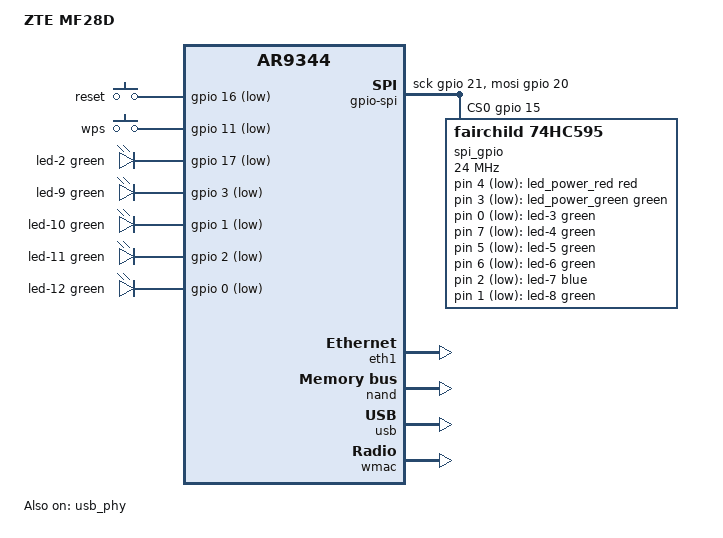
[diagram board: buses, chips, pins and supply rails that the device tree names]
// SPDX-License-Identifier: GPL-2.0-or-later OR MIT

#include "ar9344.dtsi"

#include <dt-bindings/gpio/gpio.h>
#include <dt-bindings/input/input.h>
#include <dt-bindings/leds/common.h>

/ {
	model = "ZTE MF28D";
	compatible = "zte,mf28d", "qca,ar9344";

	aliases {
		label-mac-device = &wmac;
		led-boot = &led_power_green;
		led-failsafe = &led_power_red;
		led-running = &led_power_green;
		led-upgrade = &led_power_red;
	};

	keys {
		compatible = "gpio-keys";
		pinctrl-names = "default";
		pinctrl-0 = <&enable_gpio_11 &enable_gpio_16>;

		reset {
			label = "reset";
			linux,code = <KEY_RESTART>;
			gpios = <&gpio 16 GPIO_ACTIVE_LOW>;
		};

		wps {
			label = "wps";
			linux,code = <KEY_WPS_BUTTON>;
			gpios = <&gpio 11 GPIO_ACTIVE_LOW>;
		};
	};

	leds {
		compatible = "gpio-leds";
		pinctrl-names = "default";
		pinctrl-0 = <&enable_switch_leds>;

		led_power_red: led-0 {
			color = <LED_COLOR_ID_RED>;
			function = LED_FUNCTION_POWER;
			gpios = <&spi_gpio 4 GPIO_ACTIVE_LOW>;
			panic-indicator;
		};

		led_power_green: led-1 {
			color = <LED_COLOR_ID_GREEN>;
			function = LED_FUNCTION_POWER;
			gpios = <&spi_gpio 3 GPIO_ACTIVE_LOW>;
			default-state = "on";
		};

		led-2 {
			color = <LED_COLOR_ID_GREEN>;
			function = LED_FUNCTION_WLAN;
			gpios = <&gpio 17 GPIO_ACTIVE_LOW>;
			linux,default-trigger = "phy0tpt";
		};

		led-3 {
			color = <LED_COLOR_ID_GREEN>;
			function = "phone";
			function-enumerator = <1>;
			gpios = <&spi_gpio 0 GPIO_ACTIVE_LOW>;
		};

		led-4 {
			color = <LED_COLOR_ID_GREEN>;
			function = "phone";
			function-enumerator = <2>;
			gpios = <&spi_gpio 7 GPIO_ACTIVE_LOW>;
		};

		led-5 {
			color = <LED_COLOR_ID_GREEN>;
			function = "mobile-activity";
			gpios = <&spi_gpio 5 GPIO_ACTIVE_LOW>;
		};

		led-6 {
			color = <LED_COLOR_ID_GREEN>;
			function = LED_FUNCTION_MOBILE;
			gpios = <&spi_gpio 6 GPIO_ACTIVE_LOW>;
		};

		led-7 {
			color = <LED_COLOR_ID_BLUE>;
			function = LED_FUNCTION_MOBILE;
			gpios = <&spi_gpio 2 GPIO_ACTIVE_LOW>;
		};

		led-8 {
			color = <LED_COLOR_ID_GREEN>;
			function = "mobile-signal";
			gpios = <&spi_gpio 1 GPIO_ACTIVE_LOW>;
		};

		led-9 {
			color = <LED_COLOR_ID_GREEN>;
			function = LED_FUNCTION_LAN;
			function-enumerator = <1>;
			gpios = <&gpio 3 GPIO_ACTIVE_LOW>;
		};

		led-10 {
			color = <LED_COLOR_ID_GREEN>;
			function = LED_FUNCTION_LAN;
			function-enumerator = <2>;
			gpios = <&gpio 1 GPIO_ACTIVE_LOW>;
		};

		led-11 {
			color = <LED_COLOR_ID_GREEN>;
			function = LED_FUNCTION_LAN;
			function-enumerator = <3>;
			gpios = <&gpio 2 GPIO_ACTIVE_LOW>;
		};

		led-12 {
			color = <LED_COLOR_ID_GREEN>;
			function = LED_FUNCTION_LAN;
			function-enumerator = <4>;
			gpios = <&gpio 0 GPIO_ACTIVE_LOW>;
		};
	};

	gpio-spi {
		compatible = "spi-gpio";
		#address-cells = <1>;
		#size-cells = <0>;
		ranges;
		mosi-gpios = <&gpio 20 GPIO_ACTIVE_HIGH>;
		sck-gpios = <&gpio 21 GPIO_ACTIVE_HIGH>;
		cs-gpios =  <&gpio 15 GPIO_ACTIVE_HIGH>;
		num-chipselects = <1>;

		spi_gpio: gpio-expander@1 {
			compatible = "fairchild,74hc595";
			reg = <0>;
			registers-number = <2>;
			spi-max-frequency = <24000000>;
			gpio-controller;
			#gpio-cells = <2>;
		};
	};
};

&pinmux {
	enable_gpio_11: pinctrl_enable_gpio_11 {
		pinctrl-single,bits = <0x8 0x0 0xff000000>;
	};

	enable_gpio_16: pinctrl_enable_gpio_16 {
		pinctrl-single,bits = <0x10 0x0 0xff>;
	};

	enable_switch_leds: pinctrl_enable_switch_leds {
		pinctrl-single,bits = <0x0 0x0 0xffffffff>;
	};
};

&eth1 {
	status = "okay";

	nvmem-cells = <&macaddr_mac_0 1>;
	nvmem-cell-names = "mac-address";

	gmac-config {
		device = <&gmac>;
		switch-phy-swap = <1>;
		switch-only-mode = <1>;
	};
};

&nand {
	status = "okay";

	partitions {
		compatible = "fixed-partitions";
		#address-cells = <1>;
		#size-cells = <1>;

		partition@0 {
			label = "u-boot";
			reg = <0x0000000 0x0080000>;
			read-only;
		};

		partition@80000 {
			label = "u-boot-env";
			compatible = "u-boot,env";
			reg = <0x0080000 0x0020000>;
			read-only;
		};

		partition@a0000 {
			label = "mib0";
			reg = <0x00a0000 0x0040000>;
			read-only;
		};

		caldata: partition@d0000 {
			label = "caldata";
			reg = <0x00d0000 0x0040000>;
			read-only;
		};

		mac: partition@120000 {
			label = "mac";
			reg = <0x0120000 0x0040000>;
			read-only;
		};

		partition@160000 {
			label = "inic";
			reg = <0x0160000 0x0200000>;
			read-only;
		};

		partition@360000 {
			label = "kernel";
			reg = <0x0360000 0x0400000>;
		};

		/*
		 * This encompasses stock rootfs, web, data,
		 * flash-image, cfg-wifi and cfg-param partitions
		 */
		partition@760000 {
			label = "ubi";
			reg = <0x0760000 0x78a0000>;
		};
	};
};

&ref {
	clock-frequency = <40000000>;
};

&usb {
	status = "okay";
};

&usb_phy {
	status = "okay";
};

&wmac {
	status = "okay";

	nvmem-cells = <&macaddr_mac_0 0>, <&cal_caldata_1000>;
	nvmem-cell-names = "mac-address", "calibration";
};

&caldata {
	compatible = "nvmem-cells";
	#address-cells = <1>;
	#size-cells = <1>;

	cal_caldata_1000: calibration@1000 {
		reg = <0x1000 0x440>;
	};
};

&mac {
	nvmem-layout {
		compatible = "fixed-layout";
		#address-cells = <1>;
		#size-cells = <1>;

		macaddr_mac_0: macaddr@0 {
			compatible = "mac-base";
			reg = <0x0 0x6>;
			#nvmem-cell-cells = <1>;
		};
	};
};
